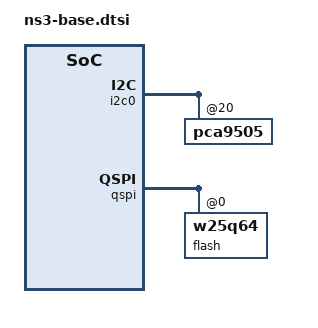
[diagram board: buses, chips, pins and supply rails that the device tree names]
// SPDX-License-Identifier: (GPL-2.0 or BSD-3-Clause)
/*
 *  Copyright(c) 2019 Broadcom
 */

#define NUM_CRYPTO	0
#define NUM_RAID	0
#define NUM_SATA	0
#define ENABLE_NAND	0
#define ENABLE_SSP0	0
#define ENABLE_SSP1	0
#define ENABLE_SDCARD	0
#define ENABLE_PWM	0
#define ENABLE_USB1	0
#define ENABLE_UART2	0
#define ENABLE_UART3	0

#define ENABLE_I2C0	1
#define ENABLE_I2C1	1
#define ENABLE_EMMC	1
#define ENABLE_OPTEE	1
#define ENABLE_MDIO	1
#define ENABLE_ENET	1

#define ENABLE_NITRO_CHDMP_DDR	0

#ifndef NUM_PAXB
#define NUM_PAXB	1
#define ENABLE_PCIE0	1
#endif

#ifndef ENABLE_PAXC
#define ENABLE_PAXC	1
#endif

#define ENABLE_PAXB_IOMMU	1
#define ENABLE_PAXC_IOMMU	1
#define ENABLE_FS4_IOMMU	0

#ifndef ENABLE_FIXED_CLOCKS
#define ENABLE_FIXED_CLOCKS 1
#endif

#include "bcm958742-base.dtsi"

/ {
	reserved-memory {
		/* GIC LPI tables */
		gic_lpi {
			reg = <0x0 0x8ad70000 0x0 0x90000>;
		};

		/* Nitro FW, nitro Crash, Bl31, Bl32 and elog */
		misc_reserve {
			reg = <0x0 0x8ae00000 0x0 0x4423000>;
			no-map;
		};

		/* Static allocated IOMMU page tables for CRMU */
		crmu_pg_tbl {
			reg = <0x8 0x80000000 0x0 0x100000>;
			no-map;
		};

		/* IOMMU page tables for Nitro IDM access to SoC */
		nitro_idm_pg_tbl {
			reg = <0x8 0x80100000 0x0 0x100000>;
			no-map;
		};

		elog {
			status = "disabled";
		};
	};
};

&idm_elog {
	reg = <0x8f213000 0x10000>;
};

&i2c0 {
	pca9505: pca9505@20 {
		interrupts = <111 1>;
	};
};

&sdio0 {
	mmc-ddr-1_8v;
};

&qspi {
	status = "okay";
	flash: w25q64@0 {
		spi-tx-bus-width = <1>;
		spi-rx-bus-width = <4>;
	};
};

&crypto_mbox {
	status = "disabled";
};

&raid_mbox {
	status = "disabled";
};

#if (ENABLE_I2C0 == 1)
&sdio1_vddo_ctrl_reg {
	status = "disabled";
};
#endif
